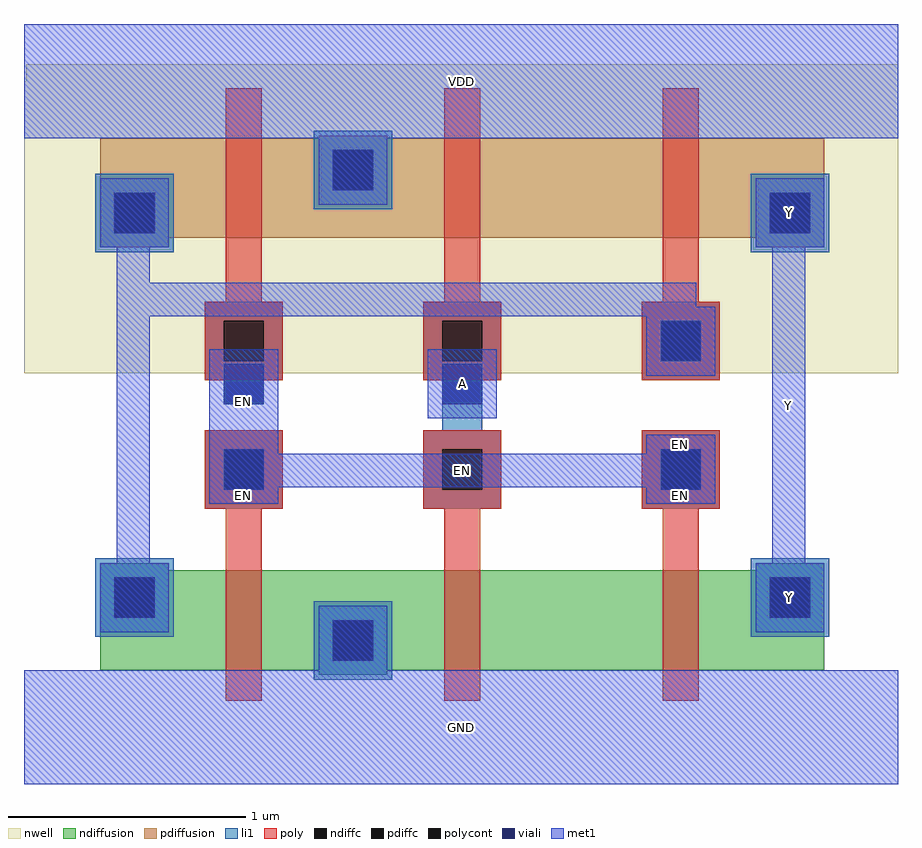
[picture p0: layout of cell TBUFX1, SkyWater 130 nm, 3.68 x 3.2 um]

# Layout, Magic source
magic
# Generated by librecell
tech sky130A
<< nwell >>
rect 0 149 368 272
rect 1 272 368 279
<< viali >>
rect 130 28 147 45
rect 38 46 55 63
rect 314 46 331 63
rect 84 100 101 117
rect 268 100 285 117
rect 84 136 101 153
rect 176 136 193 153
rect 268 154 285 171
rect 38 208 55 225
rect 314 208 331 225
rect 130 226 147 243
<< poly >>
rect 85 11 100 92
rect 76 92 109 125
rect 177 11 192 92
rect 168 92 201 125
rect 269 11 284 92
rect 260 92 293 125
rect 76 146 109 179
rect 85 179 100 269
rect 168 146 201 179
rect 177 179 192 269
rect 260 146 293 179
rect 269 179 284 269
<< properties >>
string FIXED_BBOX 0 0 368 272
<< li1 >>
rect 122 20 155 53
rect 30 38 63 71
rect 306 38 339 71
rect 76 92 109 125
rect 260 92 293 125
rect 84 136 101 146
rect 76 146 109 179
rect 168 92 201 125
rect 176 125 193 146
rect 168 146 201 179
rect 260 146 293 179
rect 30 200 63 233
rect 306 200 339 233
rect 122 218 155 251
<< met1 >>
rect 0 -24 368 24
rect 124 24 153 51
rect 78 94 107 101
rect 262 94 291 101
rect 78 101 291 115
rect 262 115 291 123
rect 78 115 107 159
rect 170 130 199 159
rect 32 40 61 69
rect 39 69 53 173
rect 262 148 291 173
rect 39 173 291 177
rect 39 177 283 187
rect 39 187 53 202
rect 32 202 61 231
rect 308 40 337 69
rect 315 69 329 202
rect 308 202 337 231
rect 124 220 153 248
rect 0 248 368 296
<< li1 >>
<< met1 >>
<< li1 >>
<< met1 >>
rect 0 -24 368 24
rect 78 94 107 101
rect 262 94 291 101
rect 78 101 291 115
rect 262 115 291 123
rect 78 115 107 159
rect 170 130 199 159
rect 308 40 337 69
rect 315 69 329 202
rect 308 202 337 231
rect 0 248 368 296
<< ndiffusion >>
rect 124 22 153 24
rect 32 24 337 66
rect 32 66 61 69
rect 308 66 337 69
<< pdiffusion >>
rect 32 202 61 206
rect 308 202 337 206
rect 32 206 337 248
rect 124 248 153 249
<< polycont >>
rect 84 100 101 117
rect 176 100 193 117
rect 268 100 285 117
rect 84 154 101 171
rect 176 154 193 171
rect 268 154 285 171
<< pdiffc >>
rect 38 208 55 225
rect 314 208 331 225
rect 130 226 147 243
<< ndiffc >>
rect 130 28 147 45
rect 38 46 55 63
rect 314 46 331 63
<< labels >>
rlabel metal2 0 248 368 296 0 VDD
port 1 se
rlabel metal2 0 -24 368 24 0 GND
port 2 se
rlabel metal2 308 40 337 69 0 Y
port 3 se
rlabel metal2 315 69 329 202 0 Y
port 4 se
rlabel metal2 308 202 337 231 0 Y
port 5 se
rlabel metal2 170 130 199 159 0 A
port 6 se
rlabel metal2 78 94 107 101 0 EN
port 7 se
rlabel metal2 262 94 291 101 0 EN
port 8 se
rlabel metal2 78 101 291 115 0 EN
port 9 se
rlabel metal2 262 115 291 123 0 EN
port 10 se
rlabel metal2 78 115 107 159 0 EN
port 11 se
<< end >>
